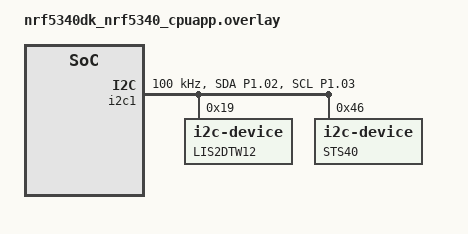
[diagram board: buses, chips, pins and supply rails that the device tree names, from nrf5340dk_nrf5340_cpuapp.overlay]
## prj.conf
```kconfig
# Printing fractions and console output
CONFIG_STDOUT_CONSOLE=y
CONFIG_CBPRINTF_FP_SUPPORT=y

# Sensor driver
CONFIG_SENSOR=y

# I2C at i2c1
CONFIG_NRFX_TWIM1=y
CONFIG_I2C=y

# Reboot
CONFIG_REBOOT=n
CONFIG_RESET_ON_FATAL_ERROR=n
```

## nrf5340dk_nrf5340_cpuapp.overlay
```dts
&pinctrl {
	i2c1_default_alt: i2c1_default_alt {
		group2 {
			psels = <NRF_PSEL(TWIM_SDA, 1, 02)>, <NRF_PSEL(TWIM_SCL, 1, 03)>;
			//bias-pull-up;
		};
	};

	i2c1_default_sleep: i2c1_default_sleep {
		group3 {
			psels = <NRF_PSEL(TWIM_SDA, 1, 02)>, <NRF_PSEL(TWIM_SCL, 1, 03)>;
			low-power-enable;
		};
	};
};


&i2c1 {
	status = "okay";
	compatible = "nordic,nrf-twim";
	pinctrl-0 = <&i2c1_default_alt>;
	pinctrl-1 = <&i2c1_default_sleep>;
	pinctrl-names = "default", "sleep";
	clock-frequency = < I2C_BITRATE_STANDARD >;
    lis2dtw12: lis2dtw12@19 {
        compatible = "i2c-device";
        status = "okay"; // https://devzone.nordicsemi.com/f/nordic-q-a/107801/usage-of-interrupts-from-i2c-device
		reg = <0x19>; // https://community.st.com/t5/mems-sensors/dts-configuration-for-lis2dw12/td-p/148824
		label = "LIS2DTW12";
	};

	sts40: sts40@46 {    /* STS40 I2C address is 0x46 */
        compatible = "i2c-device";
        status = "okay";
        reg = <0x46>;
        label = "STS40";

    };
};
```

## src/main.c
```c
#include <zephyr/kernel.h>
#include <zephyr/device.h>
#include <zephyr/devicetree.h>
#include <zephyr/drivers/i2c.h>

#include "sts40.h"
#include "lis2dtw12.h"

int main(void) {
    sts40_init();
    lis2dtw12_init();

    while (1) {
        float temp1 = sts40_read_temperature();
        float temp2 = lis2dtw12_read_temperature();
        float x, y, z;
        lis2dtw12_read_data(&x, &y, &z);

        printk("STS40 Temperature: %.2f°C\n", temp1);
        printk("LIS2DTW12 Temperature: %.2f°C\n", temp2);
        printk("Acceleration X: %.2f mg, Y: %.2f mg, Z: %.2f mg\n", x, y, z);
        k_msleep(1000);
    }
}
```

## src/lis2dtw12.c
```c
#include "lis2dtw12.h"

static const struct i2c_dt_spec dev_i2c_lis2dtw12 = I2C_DT_SPEC_GET(I2C1_NODE_LIS2DTW12);

void lis2dtw12_init(void) {
    if (!device_is_ready(dev_i2c_lis2dtw12.bus)) {
        printk("I2C bus %s is not ready!\n", dev_i2c_lis2dtw12.bus->name);
    }
}

float lis2dtw12_read_temperature(void) {
    uint8_t registers[] = {0x0D, 0x0E};
    uint8_t data[2] = {0};
    for (int i = 0; i < 2; i++) {
        int ret = i2c_write_read_dt(&dev_i2c_lis2dtw12, &registers[i], 1, &data[i], 1);
        if (ret != 0) {
            printk("Failed to read temperature register 0x%X\n", registers[i]);
            return -999.0;
        }
    }
    int16_t temp_raw = (data[1] << 8) | data[0];
    return (float)temp_raw / 256.0 + 25.0;
}

void lis2dtw12_read_data(float *x, float *y, float *z) {
    uint8_t registers[] = {0x28, 0x29, 0x2A, 0x2B, 0x2C, 0x2D};
    uint8_t data[6] = {0};
    for (int i = 0; i < 6; i++) {
        int ret = i2c_write_read_dt(&dev_i2c_lis2dtw12, &registers[i], 1, &data[i], 1);
        if (ret != 0) {
            printk("Failed to read register 0x%X\n", registers[i]);
            return;
        }
    }
    
    int16_t x_raw = (data[1] << 8) | data[0];
    int16_t y_raw = (data[3] << 8) | data[2];
    int16_t z_raw = (data[5] << 8) | data[4];
    
    *x = x_raw * 0.061;
    *y = y_raw * 0.061;
    *z = z_raw * 0.061;
}
```

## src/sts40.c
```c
#include "sts40.h"

static const struct i2c_dt_spec dev_i2c_sts40 = I2C_DT_SPEC_GET(I2C1_NODE_STS40);

void sts40_init(void) {
    if (!device_is_ready(dev_i2c_sts40.bus)) {
        printk("I2C bus %s is not ready!\n", dev_i2c_sts40.bus->name);
    }
}

float sts40_read_temperature(void) {
    uint8_t tx_data[1] = {0xFD};
    int ret = i2c_write_dt(&dev_i2c_sts40, tx_data, sizeof(tx_data));
    if (ret != 0) {
        printk("Failed to write to STS40 sensor\n");
        return -999.0;
    }

    k_msleep(10);
    uint8_t rx_data[3];
    ret = i2c_read_dt(&dev_i2c_sts40, rx_data, sizeof(rx_data));
    if (ret < 0) {
        printk("Failed to read from STS40 sensor\n");
        return -999.0;
    }

    int t_ticks = (rx_data[0] << 8) | rx_data[1];
    return -45.0 + 175.0 * (float)t_ticks / 65535.0;
}
```
